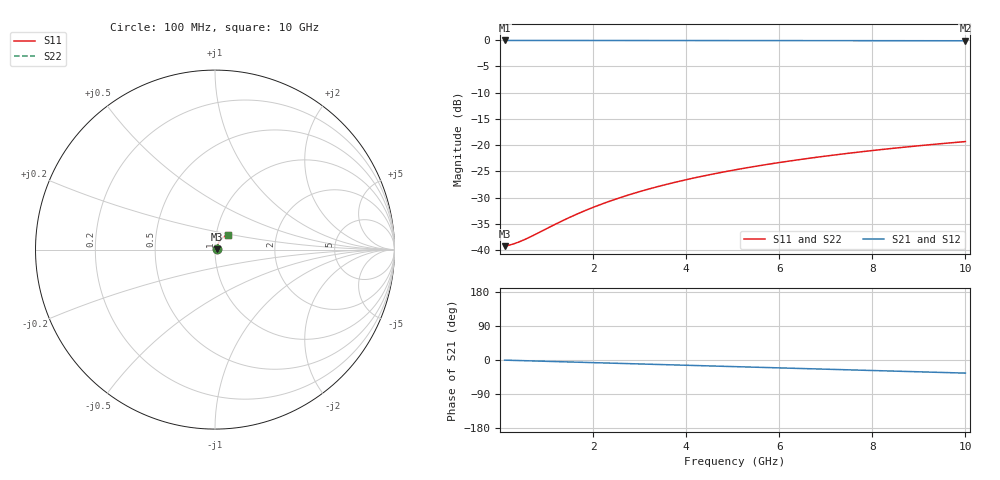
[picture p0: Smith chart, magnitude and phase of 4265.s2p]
# Hz S RI R 50.00
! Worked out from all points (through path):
!   100 points, 100 MHz to 10 GHz, reference 50 ohm
!   highest |S21| = -0.10 dB at 100 MHz (marker M1); lowest = -0.2 dB at 10 GHz (marker M2)
!   group delay of S21, straight-line fit = 9.61 ps
!   lowest |S11| = -39.2 dB at 100 MHz (marker M3), VSWR 1.02, Z = 51.1 + j0.111 ohm
!   |S11| at or under -10 dB: start of sweep to end of sweep
!   |S22| runs from -39.2 to -19.3 dB; largest |S21 - S12| = 0
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1e8  0.0109 0.00108  0.9891 -0.00599  0.9891 -0.00599  0.0109 0.00108
2e8  0.011 0.00217  0.989 -0.012  0.989 -0.012  0.011 0.00217
3e8  0.0111 0.00325  0.9888 -0.018  0.9888 -0.018  0.0111 0.00325
5e8  0.0112 0.00541  0.9884 -0.0299  0.9884 -0.0299  0.0112 0.00541
7e8  0.0115 0.00757  0.9879 -0.0419  0.9879 -0.0419  0.0115 0.00757
1.3e9  0.0124 0.014  0.9855 -0.0778  0.9855 -0.0778  0.0124 0.014
1.6e9  0.013 0.0172  0.9838 -0.0956  0.9838 -0.0956  0.013 0.0172
1.8e9  0.0135 0.0193  0.9825 -0.1075  0.9825 -0.1075  0.0135 0.0193
2.2e9  0.0146 0.0235  0.9795 -0.1313  0.9795 -0.1313  0.0146 0.0235
2.6e9  0.0159 0.0276  0.9758 -0.1549  0.9758 -0.1549  0.0159 0.0276
3e9  0.0174 0.0317  0.9716 -0.1785  0.9716 -0.1785  0.0174 0.0317
3.4e9  0.0191 0.0356  0.9668 -0.2019  0.9668 -0.2019  0.0191 0.0356
3.8e9  0.021 0.0395  0.9614 -0.2252  0.9614 -0.2252  0.021 0.0395
4.2e9  0.0231 0.0433  0.9554 -0.2483  0.9554 -0.2483  0.0231 0.0433
4.6e9  0.0253 0.047  0.9489 -0.2713  0.9489 -0.2713  0.0253 0.047
5.1e9  0.0284 0.0514  0.9399 -0.2997  0.9399 -0.2997  0.0284 0.0514
5.9e9  0.0338 0.0581  0.9238 -0.3445  0.9238 -0.3445  0.0338 0.0581
6.7e9  0.0399 0.0642  0.9055 -0.3885  0.9055 -0.3885  0.0399 0.0642
7.5e9  0.0465 0.0697  0.8851 -0.4314  0.8851 -0.4314  0.0465 0.0697
8.4e9  0.0546 0.075  0.8597 -0.4783  0.8597 -0.4783  0.0546 0.075
9.2e9  0.0622 0.079  0.835 -0.5187  0.835 -0.5187  0.0622 0.079
1e10  0.0702 0.0822  0.8084 -0.5578  0.8084 -0.5578  0.0702 0.0822
